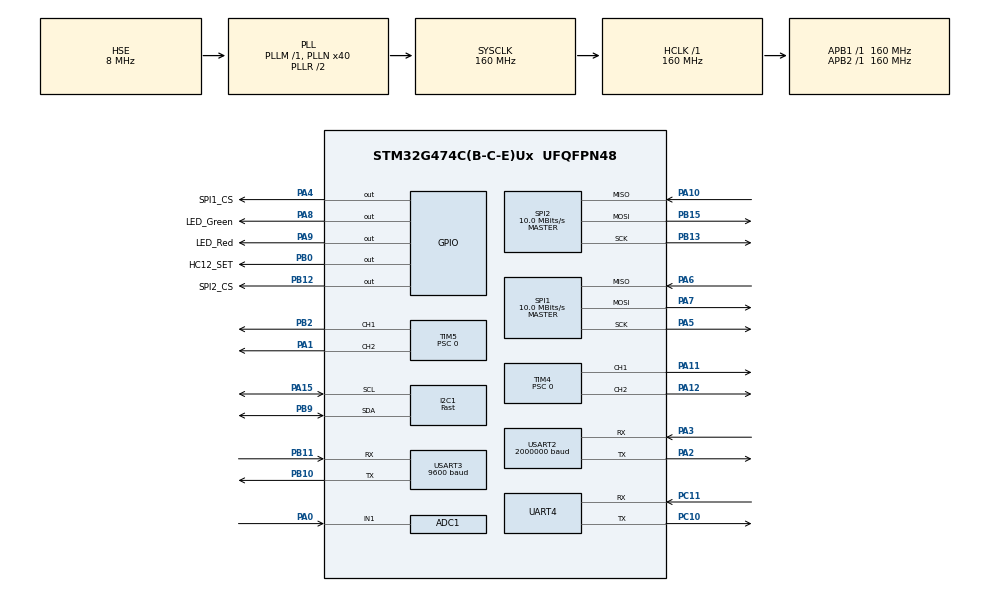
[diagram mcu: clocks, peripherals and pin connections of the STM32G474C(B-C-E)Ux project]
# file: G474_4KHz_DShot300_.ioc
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ADC1.Channel-0\#ChannelRegularConversion=ADC_CHANNEL_1
ADC1.ClockPrescaler=ADC_CLOCK_ASYNC_DIV12
ADC1.NbrOfConversionFlag=1
ADC1.OffsetNumber-0\#ChannelRegularConversion=ADC_OFFSET_NONE
ADC1.Rank-0\#ChannelRegularConversion=1
ADC1.SamplingTime-0\#ChannelRegularConversion=ADC_SAMPLETIME_640CYCLES_5
ADC1.master=1
Dma.Request0=USART3_RX
Dma.Request1=TIM5_CH1
Dma.Request2=TIM5_CH2
Dma.Request3=TIM4_CH1
Dma.Request4=TIM4_CH2
Dma.TIM4_CH1.3.Direction=DMA_MEMORY_TO_PERIPH
Dma.TIM4_CH1.3.EventEnable=DISABLE
Dma.TIM4_CH1.3.Instance=DMA1_Channel4
Dma.TIM4_CH1.3.MemDataAlignment=DMA_MDATAALIGN_WORD
Dma.TIM4_CH1.3.MemInc=DMA_MINC_ENABLE
Dma.TIM4_CH1.3.Mode=DMA_NORMAL
Dma.TIM4_CH1.3.PeriphDataAlignment=DMA_PDATAALIGN_WORD
Dma.TIM4_CH1.3.PeriphInc=DMA_PINC_DISABLE
Dma.TIM4_CH1.3.Polarity=HAL_DMAMUX_REQ_GEN_RISING
Dma.TIM4_CH1.3.Priority=DMA_PRIORITY_LOW
Dma.TIM4_CH1.3.RequestNumber=1
Dma.TIM4_CH1.3.SignalID=NONE
Dma.TIM4_CH1.3.SyncEnable=DISABLE
Dma.TIM4_CH1.3.SyncPolarity=HAL_DMAMUX_SYNC_NO_EVENT
Dma.TIM4_CH1.3.SyncRequestNumber=1
Dma.TIM4_CH1.3.SyncSignalID=NONE
Dma.TIM4_CH2.4.Direction=DMA_MEMORY_TO_PERIPH
Dma.TIM4_CH2.4.EventEnable=DISABLE
Dma.TIM4_CH2.4.Instance=DMA1_Channel5
Dma.TIM4_CH2.4.MemDataAlignment=DMA_MDATAALIGN_WORD
Dma.TIM4_CH2.4.MemInc=DMA_MINC_ENABLE
Dma.TIM4_CH2.4.Mode=DMA_NORMAL
Dma.TIM4_CH2.4.PeriphDataAlignment=DMA_PDATAALIGN_WORD
Dma.TIM4_CH2.4.PeriphInc=DMA_PINC_DISABLE
Dma.TIM4_CH2.4.Polarity=HAL_DMAMUX_REQ_GEN_RISING
Dma.TIM4_CH2.4.Priority=DMA_PRIORITY_LOW
Dma.TIM4_CH2.4.RequestNumber=1
Dma.TIM4_CH2.4.SignalID=NONE
Dma.TIM4_CH2.4.SyncEnable=DISABLE
Dma.TIM4_CH2.4.SyncPolarity=HAL_DMAMUX_SYNC_NO_EVENT
Dma.TIM4_CH2.4.SyncRequestNumber=1
Dma.TIM4_CH2.4.SyncSignalID=NONE
Dma.TIM5_CH1.1.Direction=DMA_MEMORY_TO_PERIPH
Dma.TIM5_CH1.1.EventEnable=DISABLE
Dma.TIM5_CH1.1.Instance=DMA1_Channel2
Dma.TIM5_CH1.1.MemDataAlignment=DMA_MDATAALIGN_WORD
Dma.TIM5_CH1.1.MemInc=DMA_MINC_ENABLE
Dma.TIM5_CH1.1.Mode=DMA_NORMAL
Dma.TIM5_CH1.1.PeriphDataAlignment=DMA_PDATAALIGN_WORD
Dma.TIM5_CH1.1.PeriphInc=DMA_PINC_DISABLE
Dma.TIM5_CH1.1.Polarity=HAL_DMAMUX_REQ_GEN_RISING
Dma.TIM5_CH1.1.Priority=DMA_PRIORITY_LOW
Dma.TIM5_CH1.1.RequestNumber=1
Dma.TIM5_CH1.1.SignalID=NONE
Dma.TIM5_CH1.1.SyncEnable=DISABLE
Dma.TIM5_CH1.1.SyncPolarity=HAL_DMAMUX_SYNC_NO_EVENT
Dma.TIM5_CH1.1.SyncRequestNumber=1
Dma.TIM5_CH1.1.SyncSignalID=NONE
Dma.TIM5_CH2.2.Direction=DMA_MEMORY_TO_PERIPH
Dma.TIM5_CH2.2.EventEnable=DISABLE
Dma.TIM5_CH2.2.Instance=DMA1_Channel3
Dma.TIM5_CH2.2.MemDataAlignment=DMA_MDATAALIGN_WORD
Dma.TIM5_CH2.2.MemInc=DMA_MINC_ENABLE
Dma.TIM5_CH2.2.Mode=DMA_NORMAL
Dma.TIM5_CH2.2.PeriphDataAlignment=DMA_PDATAALIGN_WORD
Dma.TIM5_CH2.2.PeriphInc=DMA_PINC_DISABLE
Dma.TIM5_CH2.2.Polarity=HAL_DMAMUX_REQ_GEN_RISING
Dma.TIM5_CH2.2.Priority=DMA_PRIORITY_LOW
Dma.TIM5_CH2.2.RequestNumber=1
Dma.TIM5_CH2.2.SignalID=NONE
Dma.TIM5_CH2.2.SyncEnable=DISABLE
Dma.TIM5_CH2.2.SyncPolarity=HAL_DMAMUX_SYNC_NO_EVENT
Dma.TIM5_CH2.2.SyncRequestNumber=1
Dma.TIM5_CH2.2.SyncSignalID=NONE
Dma.USART3_RX.0.Direction=DMA_PERIPH_TO_MEMORY
Dma.USART3_RX.0.EventEnable=DISABLE
Dma.USART3_RX.0.Instance=DMA1_Channel1
Dma.USART3_RX.0.MemDataAlignment=DMA_MDATAALIGN_BYTE
Dma.USART3_RX.0.MemInc=DMA_MINC_ENABLE
Dma.USART3_RX.0.Mode=DMA_NORMAL
Dma.USART3_RX.0.PeriphDataAlignment=DMA_PDATAALIGN_BYTE
Dma.USART3_RX.0.PeriphInc=DMA_PINC_DISABLE
Dma.USART3_RX.0.Polarity=HAL_DMAMUX_REQ_GEN_RISING
Dma.USART3_RX.0.Priority=DMA_PRIORITY_LOW
Dma.USART3_RX.0.RequestNumber=1
Dma.USART3_RX.0.SignalID=NONE
Dma.USART3_RX.0.SyncEnable=DISABLE
Dma.USART3_RX.0.SyncPolarity=HAL_DMAMUX_SYNC_NO_EVENT
Dma.USART3_RX.0.SyncRequestNumber=1
Dma.USART3_RX.0.SyncSignalID=NONE
I2C1.CustomTiming=Enabled
I2C1.I2C_Speed_Mode=I2C_Fast
I2C1.Timing=0x20501E65
Mcu.Family=STM32G4
Mcu.Name=STM32G474C(B-C-E)Ux
Mcu.Package=UFQFPN48
NVIC.DMA1_Channel1_IRQn=true\:0\:0\:false\:false\:true\:false\:true\:true
NVIC.DMA1_Channel2_IRQn=true\:0\:0\:false\:false\:true\:false\:true\:true
NVIC.DMA1_Channel3_IRQn=true\:0\:0\:false\:false\:true\:false\:true\:true
NVIC.DMA1_Channel4_IRQn=true\:0\:0\:false\:false\:true\:false\:true\:true
NVIC.DMA1_Channel5_IRQn=true\:0\:0\:false\:false\:true\:false\:true\:true
NVIC.PriorityGroup=NVIC_PRIORITYGROUP_4
NVIC.TIM5_IRQn=true\:0\:0\:false\:false\:true\:true\:true\:true
NVIC.UART4_IRQn=true\:0\:0\:false\:false\:true\:true\:true\:true
NVIC.USART3_IRQn=true\:0\:0\:false\:false\:true\:true\:true\:true
PA0.Mode=IN1-Single-Ended
PA0.Signal=ADC1_IN1
PA1.Signal=S_TIM5_CH2
PA10.Mode=Full_Duplex_Master
PA10.Signal=SPI2_MISO
PA11.Signal=S_TIM4_CH1
PA12.Signal=S_TIM4_CH2
PA15.Mode=I2C
PA15.Signal=I2C1_SCL
PA2.Mode=Asynchronous
PA2.Signal=USART2_TX
PA3.Mode=Asynchronous
PA3.Signal=USART2_RX
PA4.GPIO_Label=SPI1_CS
PA4.Signal=GPIO_Output
PA5.Mode=Full_Duplex_Master
PA5.Signal=SPI1_SCK
PA6.Mode=Full_Duplex_Master
PA6.Signal=SPI1_MISO
PA7.Mode=Full_Duplex_Master
PA7.Signal=SPI1_MOSI
PA8.GPIO_Label=LED_Green
PA8.Signal=GPIO_Output
PA9.GPIO_Label=LED_Red
PA9.Signal=GPIO_Output
PB0.GPIO_Label=HC12_SET
PB0.PinState=GPIO_PIN_SET
PB0.Signal=GPIO_Output
PB10.Mode=Asynchronous
PB10.Signal=USART3_TX
PB11.Mode=Asynchronous
PB11.Signal=USART3_RX
PB12.GPIO_Label=SPI2_CS
PB12.Signal=GPIO_Output
PB13.Mode=Full_Duplex_Master
PB13.Signal=SPI2_SCK
PB15.Mode=Full_Duplex_Master
PB15.Signal=SPI2_MOSI
PB2.Signal=S_TIM5_CH1
PB9.Mode=I2C
PB9.Signal=I2C1_SDA
PC10.Mode=Asynchronous
PC10.Signal=UART4_TX
PC11.Mode=Asynchronous
PC11.Signal=UART4_RX
PF0-OSC_IN.Mode=HSE-External-Oscillator
PF0-OSC_IN.Signal=RCC_OSC_IN
PF1-OSC_OUT.Mode=HSE-External-Oscillator
PF1-OSC_OUT.Signal=RCC_OSC_OUT
ProjectManager.HeapSize=0x200
ProjectManager.StackSize=0x400
ProjectManager.TargetToolchain=STM32CubeIDE
RCC.ADC12Freq_Value=160000000
RCC.ADC345Freq_Value=160000000
RCC.AHBFreq_Value=160000000
RCC.APB1Freq_Value=160000000
RCC.APB1TimFreq_Value=160000000
RCC.APB2Freq_Value=160000000
RCC.APB2TimFreq_Value=160000000
RCC.CortexFreq_Value=160000000
RCC.EXTERNAL_CLOCK_VALUE=12288000
RCC.EnbaleCSS=true
RCC.HCLKFreq_Value=160000000
RCC.HSE_VALUE=8000000
RCC.HSI48_VALUE=48000000
RCC.HSI_VALUE=16000000
RCC.LSE_VALUE=32768
RCC.PLLN=40
RCC.PLLSourceVirtual=RCC_PLLSOURCE_HSE
RCC.SYSCLKFreq_VALUE=160000000
RCC.SYSCLKSource=RCC_SYSCLKSOURCE_PLLCLK
RCC.USBFreq_Value=160000000
RCC.VCOOutputFreq_Value=320000000
SH.S_TIM4_CH1.0=TIM4_CH1,PWM Generation1 CH1
SH.S_TIM4_CH2.0=TIM4_CH2,PWM Generation2 CH2
SH.S_TIM5_CH1.0=TIM5_CH1,PWM Generation1 CH1
SH.S_TIM5_CH2.0=TIM5_CH2,PWM Generation2 CH2
SPI1.BaudRatePrescaler=SPI_BAUDRATEPRESCALER_16
SPI1.CalculateBaudRate=10.0 MBits/s
SPI1.DataSize=SPI_DATASIZE_8BIT
SPI1.Direction=SPI_DIRECTION_2LINES
SPI1.Mode=SPI_MODE_MASTER
SPI1.VirtualType=VM_MASTER
SPI2.BaudRatePrescaler=SPI_BAUDRATEPRESCALER_16
SPI2.CLKPhase=SPI_PHASE_2EDGE
SPI2.CLKPolarity=SPI_POLARITY_HIGH
SPI2.CalculateBaudRate=10.0 MBits/s
SPI2.DataSize=SPI_DATASIZE_8BIT
SPI2.Direction=SPI_DIRECTION_2LINES
SPI2.Mode=SPI_MODE_MASTER
SPI2.VirtualType=VM_MASTER
TIM4.Channel-PWM\ Generation1\ CH1=TIM_CHANNEL_1
TIM4.Channel-PWM\ Generation2\ CH2=TIM_CHANNEL_2
TIM4.PeriodNoDither=532
TIM4.Prescaler=0
TIM5.Channel-PWM\ Generation1\ CH1=TIM_CHANNEL_1
TIM5.Channel-PWM\ Generation2\ CH2=TIM_CHANNEL_2
TIM5.PeriodNoDither=532
TIM5.Prescaler=0
TIM7.PeriodNoDither=999
TIM7.Prescaler=39
USART2.BaudRate=2000000
USART2.VirtualMode-Asynchronous=VM_ASYNC
USART3.BaudRate=9600
USART3.SwapParam=ADVFEATURE_SWAP_ENABLE
USART3.VirtualMode-Asynchronous=VM_ASYNC
VP_SYS_VS_DBSignals.Mode=DisableDeadBatterySignals
VP_TIM7_VS_ClockSourceINT.Mode=Enable_Timer
board=custom

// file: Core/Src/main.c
/* USER CODE BEGIN Header */
/**
 ******************************************************************************
 * @file           : main.c
 * @brief          : Main program body
 *
 * Revised: 2026-09-25 22:10 (Claude)
 *   - 루프 동기 매크로 _1KHz_* -> _4KHz_* (실제 주기 4kHz), 주기 상수를 main.h 로 통일
 *   - used_clocks 측정이 타이머 랩(오버런) 시 65000대 값으로 튀던 문제 수정
 *   - ADC(배터리) 자기 보정(HAL_ADCEx_Calibration_Start) 추가: 기존엔 미보정이었음
 *   - 전압 보상 배율 상한(ESC_VOLT_GAIN_MAX) 추가: 저전압에서 출력이 과도하게 증폭되던 문제
 *   - 모터 믹싱을 motor_mix() 한 곳으로 통합, 사용되지 않던 잘못된 스케일의
 *     motor_rotate() 제거 (1000~2000 스케일 값을 DShot 클램프에 그대로 넣던 함수)
 *
 * Revised: 2026-09-26 (Claude)
 *   - 모터 아이들(MOTOR_IDLE_DSHOT): 아밍하면 모터가 천천히 돌고, 스로틀 최저에서도
 *     PID 가 모터를 올리고 내릴 여유가 생긴다. (기존 48 = DShot 스로틀 0, 모터 정지)
 *
 * Revised: 2026-09-29 (Manual)
 *   - 가속도 offset 측장 및 적용(imu.c)
 *   - 비행 테스트 : ING(   )
 *
 ******************************************************************************
 * @attention
 *
 * Copyright (c) 2024 STMicroelectronics.
 * All rights reserved.
 *
 * This software is licensed under terms that can be found in the LICENSE file
 * in the root directory of this software component.
 * If no LICENSE file comes with this software, it is provided AS-IS.
 *
 ******************************************************************************
 */
/* USER CODE END Header */
#include "main.h"

/* USER CODE BEGIN Includes */
#include "dshot.h" // DShot 라이브러리 추가
#include "rc.h"
#include "imu.h"
#include "error.h"
#include "pid.h"
#include "telemetry.h"
#include "baro.h"
#include <stdio.h> // printf 사용을 위해 추가

/* USER CODE END Includes */

/* USER CODE BEGIN PD */
// 제어 루프 동기: TIM7 업데이트 플래그 기반 4kHz (FC_LOOP_* 는 main.h)
#define  _4KHz_start() TIM7->SR &= ~TIM_SR_UIF
#define  _4KHz_end() while (!(TIM7->SR & TIM_SR_UIF)){}

// 전압 보상 배율 상한: 배터리 방전/순간 강하 시 max/V 가 커져 출력이 과증폭되는 것을 제한
#define ESC_VOLT_GAIN_MAX 1.30f
// 아밍 시 모터 최저 출력 (DShot 값, 48 = 0%, 2047 = 100%). 148 ≈ 5%.
// 아밍했을 때 모터가 멈칫거리거나 서면 올리고, 너무 빠르면 내린다. 48 이면 기존과 같음(아이들 없음).
#define MOTOR_IDLE_DSHOT  148

// ---- 빌드 옵션 -------------------------------------------------------------
// 1: 양팔 드론 테스트 모드 (롤만 제어, 피치/요 출력 0).  정상 4발 비행 시 0 으로.
#define TWO_ARM_TEST_MODE 0
// 1: BMP390L 사용(baro_init/get_pressure). 0 이면 error.BARO=true 로 FM2 이상 진입 불가.
#define BARO_ENABLED      1
// 1: 기압 고도 유지 사용 (BARO_ENABLED 필요). ch5 > 1400 (FM2) 에서 동작.
//    고도 PID 게인은 pid.c 의 ALT_KP/ALT_KI/ALT_KD [m 단위]. 튜닝 전에는 낮은 고도에서만 시험.
#define ALT_HOLD_ENABLED  1
// 1: 아밍 안 되는 문제 진단용 RC 디코딩 상태 출력(USART2, 2,000,000bps 8N1).
// 2026-09-25 11:20: 진짜 원인(rc.c의 rc_ever_valid 미갱신 버그) 확인 및 수정
// 완료로 0으로 되돌림. printf 는 매 호출 블로킹이라 상시 켜두면 안 됨.
#define RC_DEBUG_PRINT    0
// 1: BMP390L 동작 확인용 출력(USART2, 2,000,000bps 8N1, 4Hz, 디스암 상태에서만).
// printf 가 블로킹이라 출력하는 루프는 오버런(etc2 증가)이 난다. 확인 후 0 으로.
#define BARO_DEBUG_PRINT  0
#if BARO_DEBUG_PRINT && !BARO_ENABLED
#error "BARO_DEBUG_PRINT requires BARO_ENABLED"
#endif
#if ALT_HOLD_ENABLED && !BARO_ENABLED
#error "ALT_HOLD_ENABLED requires BARO_ENABLED"
#endif
/* USER CODE END PD */

ADC_HandleTypeDef hadc1;

I2C_HandleTypeDef hi2c1;

/* USER CODE BEGIN PV */
uint16_t loop_start;
uint16_t used_clocks;
uint16_t used_clocks_max; // 관측된 최대 루프 사용 클럭 (0.25us 단위, FC_LOOP_CLOCKS 이상 = 오버런)
uint16_t baro_clocks_max; // get_pressure() 1회 최대 소요 클럭 (0.25us 단위). 50Hz 로 읽는 루프의 부담 확인용
uint32_t loop_overrun;    // 250us 를 넘긴 루프 횟수
uint32_t loop_counter; //제어 루프(4kHz) 카운터: 0.25ms 단위

RPY angle;
RPY angular;
RC rc;
uint8_t FM;
uint8_t ARMED;
uint16_t throttle;
SETPOINT setpoint;
float roll_out, pitch_out, yaw_out;
uint16_t esc1, esc2, esc3, esc4;

Battery batteryType;
float battery_voltage;
float min_voltage, max_voltage;
/* USER CODE END PV */

void SystemClock_Config(void);
static void MX_GPIO_Init(void);
static void MX_DMA_Init(void);
static void MX_TIM7_Init(void);
static void MX_USART2_UART_Init(void);
static void MX_UART4_Init(void);
static void MX_SPI2_Init(void);
static void MX_SPI1_Init(void);
static void MX_I2C1_Init(void);
static void MX_ADC1_Init(void);
static void MX_TIM5_Init(void);
static void MX_USART3_UART_Init(void);
static void MX_TIM4_Init(void);

/* USER CODE BEGIN 0 */

int _write(int file, uint8_t *p, int length) {
	for (int i = 0; i < length; i++) {
		LL_USART_TransmitData8(USART2, p[i]);
		while (!LL_USART_IsActiveFlag_TXE(USART2)) {
		}
	}
	return length;
}

uint16_t throttle_decision(Flight type, RC rc, float pressure, uint8_t fm) {

	uint16_t _throttle;

	//Basic:
	_throttle = rc.ch3;

	if (fm == 1) {
		alt.setpointed = false; //---------------------------------> a
	}

	//Auto(+Manual):
	if (fm >= 2) {
#if ALT_HOLD_ENABLED
		(void) pressure;
		float t = alt_PID(ALT, &alt, baro.altitude); // [m]
		if (t < 1000.0f)
			t = 1000.0f; // 음수/저값이 uint16 으로 wrap 되는 것 방지
		if (t > 1800.0f)
			t = 1800.0f;
		_throttle = (uint16_t) t;
#endif
	}

	if (_throttle > 1800)
		_throttle = 1800;

	return _throttle;
}

SETPOINT setpoint_xyz_decision(Flight type, RC rc) {

	SETPOINT sp;

	//Manual:
	sp.x = rc.ch1;
	sp.y = rc.ch2;
	sp.z = rc.ch4;

	return sp;
}

void battery_type(Battery type) {
	// 100회 평균 (변환 타임아웃 10ms, HAL_MAX_DELAY 무한 대기 제거). 지연 중에도 DShot 0 프레임 유지.
	float sum = 0.0f;
	uint8_t n = 0;
	for (uint8_t i = 0; i < 100; i++) {
		HAL_ADC_Start(&hadc1);
		if (HAL_ADC_PollForConversion(&hadc1, 10) == HAL_OK) {
			sum += (float) HAL_ADC_GetValue(&hadc1) * BAT_ADC_TO_VOLT;
			n++;
		}
		HAL_ADC_Stop(&hadc1);
		dshot_delay_ms(1);
	}

	if (n > 0) {
		battery_voltage = sum / n;
	}

	if (battery_voltage > 8.4f && battery_voltage < 13.0f) {
		batteryType = _3S;
	}

	if (battery_voltage > 13.0f && battery_voltage < 17.0f) {
		batteryType = _4S;
	}
}

void esc_restriction(uint16_t _min, uint16_t _max) {

	if (esc1 > _max)
		esc1 = _max;
	if (esc2 > _max)
		esc2 = _max;
	if (esc3 > _max)
		esc3 = _max;
	if (esc4 > _max)
		esc4 = _max;

	if (esc1 < _min)
		esc1 = _min;
	if (esc2 < _min)
		esc2 = _min;
	if (esc3 < _min)
		esc3 = _min;
	if (esc4 < _min)
		esc4 = _min;
}

// 아이들 위쪽 구간만 배율 보정 (아이들 자체는 올리지 않음)
static uint16_t esc_scale(uint16_t v, float gain) {
	if (v <= MOTOR_IDLE_DSHOT)
		return v;
	return (uint16_t) (MOTOR_IDLE_DSHOT + (float) (v - MOTOR_IDLE_DSHOT) * gain);
}

void esc_correction(Battery type) {

	if (type == _3S) {
		min_voltage = 7.0; //2.80 * 3s = 8.4, 1050 <= 3s <= 1240
		max_voltage = 12.60; //2024-06-16
		//printf("access!");
	}

	if (type == _4S) {
		min_voltage = 10.0; //2.8 * 4s = 11.2, 1400 <= 4s <= 1660
		max_voltage = 16.80; //2024-06-16
	}

	if (battery_voltage > min_voltage && battery_voltage < max_voltage) {
		// 기존: 전 구간 (max-V)*80 가산 -> 스로틀 최저에서도 아이들이 상승(3S 11.1V 에서 +120).
		// 변경: 만충 전압 대비 배율로 스로틀 구간(48 초과분)만 보정.
		float gain = max_voltage / battery_voltage;
		if (gain > ESC_VOLT_GAIN_MAX)
			gain = ESC_VOLT_GAIN_MAX;
		esc1 = esc_scale(esc1, gain);
		esc2 = esc_scale(esc2, gain);
		esc3 = esc_scale(esc3, gain);
		esc4 = esc_scale(esc4, gain);
	}
}

// 1000~2000(us) 스케일의 PID 출력으로 믹싱한 뒤 DShot 으로 선형 변환.
// 1000us -> MOTOR_IDLE_DSHOT(아이들). 기울기는 기존과 같은 x1.999 라서 PID 게인은 그대로 유효하다.
// (위쪽 끝은 2047 에서 잘린다. 스로틀 상한 1800 + PID 여유 안에서는 거의 닿지 않음)
static uint16_t us_to_dshot(int16_t m) {
	return (m > 1000) ?
			(uint16_t) (((int32_t) (m - 1000) * 1999) / 1000 + MOTOR_IDLE_DSHOT) :
			MOTOR_IDLE_DSHOT;
}

void motor_mix(uint16_t throttle, float roll_out, float pitch_out,
		float yaw_out) {

	int16_t m1 = throttle - roll_out + (pitch_out * 0.72f) + yaw_out;
	int16_t m2 = throttle - roll_out - (pitch_out * 0.72f) - yaw_out;
	int16_t m3 = throttle + roll_out - (pitch_out * 0.72f) + yaw_out;
	int16_t m4 = throttle + roll_out + (pitch_out * 0.72f) - yaw_out;

	esc1 = us_to_dshot(m1);
	esc2 = us_to_dshot(m2);
	esc3 = us_to_dshot(m3);
	esc4 = us_to_dshot(m4);

	esc_correction(batteryType); //batteryType:
	esc_restriction(MOTOR_IDLE_DSHOT, 2047); // DShot300 스케일, 아밍 중엔 아이들 이하로 내리지 않음
}

void motor_free(void) {
	esc1 = esc2 = esc3 = esc4 = 0; // 변경: DShot 모터 정지 신호는 0
}

#define enumstr(a) (#a)
/* USER CODE END 0 */

int main(void)
{

  /* MCU Configuration--------------------------------------------------------*/

  /* Reset of all peripherals, Initializes the Flash interface and the Systick. */
  HAL_Init();

  /* Configure the system clock */
  SystemClock_Config();

  /* Initialize all configured peripherals */
  MX_GPIO_Init();
  MX_DMA_Init();
  MX_TIM7_Init();
  MX_USART2_UART_Init();
  MX_UART4_Init();
  MX_SPI2_Init();
  MX_SPI1_Init();
  MX_I2C1_Init();
  MX_ADC1_Init();
  MX_TIM5_Init();
  MX_USART3_UART_Init();
  MX_TIM4_Init();
  /* USER CODE BEGIN 2 */
	LL_TIM_EnableCounter(TIM7);

	LL_USART_EnableIT_RXNE(UART4); //rc:
	LL_USART_EnableIT_IDLE(UART4);

	LL_SPI_Enable(SPI1); //ms5611:
	LL_SPI_Enable(SPI2); //icm-20602:

	// 변경: 기존 TIM4/TIM5 인터럽트 활성화를 삭제하고 DShot 초기화 함수 호출
	dshot_init();

	dshot_delay_ms(500); //Without this, not any process next! (지연 중 DShot 0 프레임 유지)
	imu_init(icm20602);

	// BMP390L
#if BARO_ENABLED
	baro_init(bmp390L);
#endif
	// ADC 자기 보정(오프셋 오차 제거). ADC 가 비활성 상태인 지금 1회 수행. 실패해도 계속 진행.
	HAL_ADCEx_Calibration_Start(&hadc1, ADC_SINGLE_ENDED);
	battery_type(_3S | _4S);
	telemetry_rx_init();
  /* USER CODE END 2 */

  /* Infinite loop */
  /* USER CODE BEGIN WHILE */
	while (1) {

		_4KHz_start(); //-------------------------------------------------------------> 0)
		loop_counter++;
		loop_start = LL_TIM_GetCounter(TIM7);

		//read DATA ------------------------------------------------------------------> 1)
		angle = get_angle(icm20602);
		angular = get_angular(icm20602);
		rc = get_rc(FS_iA6B);
		// 2026-09-25 11:20: 재활성화(진짜 원인 수정 완료, rc.c 참고).
		// get_rc()가 rc_ever_valid 를 갱신하지 않아 rc_link_lost()가 항상
		// true 를 반환 -> ARMED==2 가 되는 즉시 이 함수가 "링크 두절"로
		// 오판해 강제 디스암시키고 있었음. rc.c 수정으로 해결되었으므로
		// 실비행 중 RC 링크 두절 시 자동 강하+디스암하는 원래 안전 기능으로 복구.
		rc = rc_failsafe(rc); // 비행 중 RC 링크 두절 시 중립 + 스로틀 감소 + 디스암

		// BMP390L [hPa]
#if BARO_ENABLED
		uint16_t baro_t0 = LL_TIM_GetCounter(TIM7);
		float pressure = get_pressure(bmp390L);
		uint16_t baro_used = (uint16_t) (LL_TIM_GetCounter(TIM7) - baro_t0);
		if (baro_used < FC_LOOP_CLOCKS && baro_used > baro_clocks_max)
			baro_clocks_max = baro_used;
#else
		float pressure = 0;
#endif

		//check ERRORs:
		error_handling(); //Battery_check!

		//set FLIGHT MODE and ARMING -------------------------------------------------> 2)
		FM = flightmode(rc);
		ARMED = arming(rc);
		pid_tune_update(); // 튜닝 모드(pid.h PID_TUNE_MODE): ch5=P/I/D 선택, ch9=배율
#if BARO_ENABLED
		// 아밍되는 순간의 압력을 상대 고도 0m 로 잡는다 (텔레메트리 altitude 기준)
		static uint8_t prev_armed = 0;
		if (ARMED == 2 && prev_armed != 2)
			baro_zero_altitude();
		prev_armed = ARMED;
#endif

#if RC_DEBUG_PRINT
		// 진단용(임시, 4Hz): USART2(2,000,000bps 8N1)로 RC 디코딩 상태 출력.
		// f=시도횟수 v=체크섬통과횟수 (v가 0에서 안 늘면 iBus 디코딩이 안 되는 것)
		// c1~c5: 실제 디코딩된 채널값, armed: arming() 결과, eRC: error.RC
		if (loop_counter % 1000 == 0) {
			printf("RC f=%lu v=%lu c1=%u c2=%u c3=%u c4=%u c5=%u armed=%u eRC=%u\r\n",
					(unsigned long) rc_frames_total, (unsigned long) rc_frames_valid,
					rc.ch1, rc.ch2, rc.ch3, rc.ch4, rc.ch5, ARMED, error.RC);
		}
#endif

#if BARO_DEBUG_PRINT
		// 진단용(임시, 4Hz, 디스암 시에만): BMP390L 상태 출력
		// id=0x60, err=0x00, pwr=0x33, osr=0x03, odr=0x02, cfg=0x04 이어야 정상.
		// P=압력[Pa], T=칩온도[degC], n=누적 샘플(초당 50씩 증가), rdy=baro.ready
		if (ARMED != 2 && loop_counter % 1000 == 0) {
			// baro_clk: get_pressure() 최대 소요 [0.25us 단위]
			int32_t p = baro_diag.press_pa_x100, t = baro_diag.temp_c_x100;
			int32_t ta = (t < 0) ? -t : t;
			printf("BARO id=%02X err=%02X pwr=%02X osr=%02X odr=%02X cfg=%02X "
					"P=%ld.%02ld T=%s%ld.%02ld n=%lu rej=%lu stale=%lu rdy=%u baro_clk=%u\r\n",
					baro_diag.chip_id, baro_diag.err_reg, baro_diag.pwr_ctrl,
					baro_diag.osr, baro_diag.odr, baro_diag.config,
					(long) (p / 100), (long) (p % 100),
					(t < 0) ? "-" : "", (long) (ta / 100), (long) (ta % 100),
					(unsigned long) baro.sample_count,
					(unsigned long) baro_diag.reject_count,
					(unsigned long) baro_diag.stale_count, baro.ready,
					baro_clocks_max);
		}
#endif

		//decide SETPOINTs:x,y,z and throttle ----------------------------------------> 3)
		throttle = throttle_decision(Manual | Auto, rc, pressure, FM);
		setpoint = setpoint_xyz_decision(Manual | Auto, rc);

		//do ATTITUDE PID ------------------------------------------------------------> 4)
		// 4kHz 제어 주기(FC_LOOP_DT = 0.25ms)를 인자로 전달
		roll_out = att_PID(ROLL, &roll, angle.x, angular.x, setpoint.x,
				FC_LOOP_DT);
		pitch_out = att_PID(PITCH, &pitch, angle.y, angular.y, setpoint.y,
				FC_LOOP_DT);
		yaw_out = att_PID(YAW, &yaw, angle.z, angular.z, setpoint.z,
				FC_LOOP_DT);

#if TWO_ARM_TEST_MODE
		// 양팔 드론 테스트: 롤만 사용
		pitch_out = yaw_out = 0;
#endif

		//activate MOTORs ------------------------------------------------------------> 5)
		if (ARMED == 2) {
			motor_mix(throttle, roll_out, pitch_out, yaw_out);
		} else {
			motor_free();
		}

		// 변경: 루프 마지막 단에서 DMA 트리거를 통해 DShot 패킷 전송
		dshot_write(esc1, esc2, esc3, esc4);

		telemetry();

		if(1) {
			// 오버런(UIF 이미 set) 이면 카운터가 한 바퀴 돈 것이므로 주기만큼 보정해서 계산.
			// (기존: uint16 뺄셈이 랩되어 65000대 값이 used_clocks/etc1 에 찍혔음)
			// Basic: used_clocks(144us), overrun(0)
			// Basic + BMP390L:
			uint16_t now = LL_TIM_GetCounter(TIM7);
			bool overrun = (TIM7->SR & TIM_SR_UIF) != 0; // 250us 안에 끝나지 못함
			uint16_t used = (uint16_t) (now - loop_start);
			if (overrun) {
				used = (uint16_t) ((now + FC_LOOP_CLOCKS) - loop_start);
				loop_overrun++;
			}
			used_clocks = used;
			if (used_clocks > used_clocks_max)
				used_clocks_max = used_clocks;
		}

		_4KHz_end(); //---------------------------------------------------------------> 0)
    /* USER CODE END WHILE */

	}
}

void SystemClock_Config(void)
{
  RCC_OscInitTypeDef RCC_OscInitStruct = {0};
  RCC_ClkInitTypeDef RCC_ClkInitStruct = {0};

  /** Configure the main internal regulator output voltage
  */
  HAL_PWREx_ControlVoltageScaling(PWR_REGULATOR_VOLTAGE_SCALE1_BOOST);

  /** Initializes the RCC Oscillators according to the specified parameters
  * in the RCC_OscInitTypeDef structure.
  */
  RCC_OscInitStruct.OscillatorType = RCC_OSCILLATORTYPE_HSE;
  RCC_OscInitStruct.HSEState = RCC_HSE_ON;
  RCC_OscInitStruct.PLL.PLLState = RCC_PLL_ON;
  RCC_OscInitStruct.PLL.PLLSource = RCC_PLLSOURCE_HSE;
  RCC_OscInitStruct.PLL.PLLM = RCC_PLLM_DIV1;
  RCC_OscInitStruct.PLL.PLLN = 40;
  RCC_OscInitStruct.PLL.PLLP = RCC_PLLP_DIV2;
  RCC_OscInitStruct.PLL.PLLQ = RCC_PLLQ_DIV2;
  RCC_OscInitStruct.PLL.PLLR = RCC_PLLR_DIV2;
  if (HAL_RCC_OscConfig(&RCC_OscInitStruct) != HAL_OK)
  {
    Error_Handler();
  }

  /** Initializes the CPU, AHB and APB buses clocks
  */
  RCC_ClkInitStruct.ClockType = RCC_CLOCKTYPE_HCLK|RCC_CLOCKTYPE_SYSCLK
                              |RCC_CLOCKTYPE_PCLK1|RCC_CLOCKTYPE_PCLK2;
  RCC_ClkInitStruct.SYSCLKSource = RCC_SYSCLKSOURCE_PLLCLK;
  RCC_ClkInitStruct.AHBCLKDivider = RCC_SYSCLK_DIV1;
  RCC_ClkInitStruct.APB1CLKDivider = RCC_HCLK_DIV1;
  RCC_ClkInitStruct.APB2CLKDivider = RCC_HCLK_DIV1;

  if (HAL_RCC_ClockConfig(&RCC_ClkInitStruct, FLASH_LATENCY_4) != HAL_OK)
  {
    Error_Handler();
  }

  /** Enables the Clock Security System
  */
  HAL_RCC_EnableCSS();
}

static void MX_ADC1_Init(void)
{

  ADC_MultiModeTypeDef multimode = {0};
  ADC_ChannelConfTypeDef sConfig = {0};

  /** Common config
  */
  hadc1.Instance = ADC1;
  hadc1.Init.ClockPrescaler = ADC_CLOCK_ASYNC_DIV12;
  hadc1.Init.Resolution = ADC_RESOLUTION_12B;
  hadc1.Init.DataAlign = ADC_DATAALIGN_RIGHT;
  hadc1.Init.GainCompensation = 0;
  hadc1.Init.ScanConvMode = ADC_SCAN_DISABLE;
  hadc1.Init.EOCSelection = ADC_EOC_SINGLE_CONV;
  hadc1.Init.LowPowerAutoWait = DISABLE;
  hadc1.Init.ContinuousConvMode = DISABLE;
  hadc1.Init.NbrOfConversion = 1;
  hadc1.Init.DiscontinuousConvMode = DISABLE;
  hadc1.Init.ExternalTrigConv = ADC_SOFTWARE_START;
  hadc1.Init.ExternalTrigConvEdge = ADC_EXTERNALTRIGCONVEDGE_NONE;
  hadc1.Init.DMAContinuousRequests = DISABLE;
  hadc1.Init.Overrun = ADC_OVR_DATA_PRESERVED;
  hadc1.Init.OversamplingMode = DISABLE;
  if (HAL_ADC_Init(&hadc1) != HAL_OK)
  {
    Error_Handler();
  }

  /** Configure the ADC multi-mode
  */
  multimode.Mode = ADC_MODE_INDEPENDENT;
  if (HAL_ADCEx_MultiModeConfigChannel(&hadc1, &multimode) != HAL_OK)
  {
    Error_Handler();
  }

  /** Configure Regular Channel
  */
  sConfig.Channel = ADC_CHANNEL_1;
  sConfig.Rank = ADC_REGULAR_RANK_1;
  sConfig.SamplingTime = ADC_SAMPLETIME_640CYCLES_5;
  sConfig.SingleDiff = ADC_SINGLE_ENDED;
  sConfig.OffsetNumber = ADC_OFFSET_NONE;
  sConfig.Offset = 0;
  if (HAL_ADC_ConfigChannel(&hadc1, &sConfig) != HAL_OK)
  {
    Error_Handler();
  }

}

static void MX_I2C1_Init(void)
{

  hi2c1.Instance = I2C1;
  hi2c1.Init.Timing = 0x20501E65;
  hi2c1.Init.OwnAddress1 = 0;
  hi2c1.Init.AddressingMode = I2C_ADDRESSINGMODE_7BIT;
  hi2c1.Init.DualAddressMode = I2C_DUALADDRESS_DISABLE;
  hi2c1.Init.OwnAddress2 = 0;
  hi2c1.Init.OwnAddress2Masks = I2C_OA2_NOMASK;
  hi2c1.Init.GeneralCallMode = I2C_GENERALCALL_DISABLE;
  hi2c1.Init.NoStretchMode = I2C_NOSTRETCH_DISABLE;
  if (HAL_I2C_Init(&hi2c1) != HAL_OK)
  {
    Error_Handler();
  }

  /** Configure Analogue filter
  */
  if (HAL_I2CEx_ConfigAnalogFilter(&hi2c1, I2C_ANALOGFILTER_ENABLE) != HAL_OK)
  {
    Error_Handler();
  }

  /** Configure Digital filter
  */
  if (HAL_I2CEx_ConfigDigitalFilter(&hi2c1, 0) != HAL_OK)
  {
    Error_Handler();
  }

}

static void MX_SPI1_Init(void)
{

  LL_SPI_InitTypeDef SPI_InitStruct = {0};

  LL_GPIO_InitTypeDef GPIO_InitStruct = {0};

  /* Peripheral clock enable */
  LL_APB2_GRP1_EnableClock(LL_APB2_GRP1_PERIPH_SPI1);

  LL_AHB2_GRP1_EnableClock(LL_AHB2_GRP1_PERIPH_GPIOA);
  /**SPI1 GPIO Configuration
  PA5   ------> SPI1_SCK
  PA6   ------> SPI1_MISO
  PA7   ------> SPI1_MOSI
  */
  GPIO_InitStruct.Pin = LL_GPIO_PIN_5;
  GPIO_InitStruct.Mode = LL_GPIO_MODE_ALTERNATE;
  GPIO_InitStruct.Speed = LL_GPIO_SPEED_FREQ_LOW;
  GPIO_InitStruct.OutputType = LL_GPIO_OUTPUT_PUSHPULL;
  GPIO_InitStruct.Pull = LL_GPIO_PULL_NO;
  GPIO_InitStruct.Alternate = LL_GPIO_AF_5;
  LL_GPIO_Init(GPIOA, &GPIO_InitStruct);

  GPIO_InitStruct.Pin = LL_GPIO_PIN_6;
  GPIO_InitStruct.Mode = LL_GPIO_MODE_ALTERNATE;
  GPIO_InitStruct.Speed = LL_GPIO_SPEED_FREQ_LOW;
  GPIO_InitStruct.OutputType = LL_GPIO_OUTPUT_PUSHPULL;
  GPIO_InitStruct.Pull = LL_GPIO_PULL_NO;
  GPIO_InitStruct.Alternate = LL_GPIO_AF_5;
  LL_GPIO_Init(GPIOA, &GPIO_InitStruct);

  GPIO_InitStruct.Pin = LL_GPIO_PIN_7;
  GPIO_InitStruct.Mode = LL_GPIO_MODE_ALTERNATE;
  GPIO_InitStruct.Speed = LL_GPIO_SPEED_FREQ_LOW;
  GPIO_InitStruct.OutputType = LL_GPIO_OUTPUT_PUSHPULL;
  GPIO_InitStruct.Pull = LL_GPIO_PULL_NO;
  GPIO_InitStruct.Alternate = LL_GPIO_AF_5;
  LL_GPIO_Init(GPIOA, &GPIO_InitStruct);

  /* SPI1 parameter configuration*/
  SPI_InitStruct.TransferDirection = LL_SPI_FULL_DUPLEX;
  SPI_InitStruct.Mode = LL_SPI_MODE_MASTER;
  SPI_InitStruct.DataWidth = LL_SPI_DATAWIDTH_8BIT;
  SPI_InitStruct.ClockPolarity = LL_SPI_POLARITY_LOW;
  SPI_InitStruct.ClockPhase = LL_SPI_PHASE_1EDGE;
  SPI_InitStruct.NSS = LL_SPI_NSS_SOFT;
  SPI_InitStruct.BaudRate = LL_SPI_BAUDRATEPRESCALER_DIV16;
  SPI_InitStruct.BitOrder = LL_SPI_MSB_FIRST;
  SPI_InitStruct.CRCCalculation = LL_SPI_CRCCALCULATION_DISABLE;
  SPI_InitStruct.CRCPoly = 7;
  LL_SPI_Init(SPI1, &SPI_InitStruct);
  LL_SPI_SetStandard(SPI1, LL_SPI_PROTOCOL_MOTOROLA);
  LL_SPI_EnableNSSPulseMgt(SPI1);

}

static void MX_SPI2_Init(void)
{

  LL_SPI_InitTypeDef SPI_InitStruct = {0};

  LL_GPIO_InitTypeDef GPIO_InitStruct = {0};

  /* Peripheral clock enable */
  LL_APB1_GRP1_EnableClock(LL_APB1_GRP1_PERIPH_SPI2);

  LL_AHB2_GRP1_EnableClock(LL_AHB2_GRP1_PERIPH_GPIOB);
  LL_AHB2_GRP1_EnableClock(LL_AHB2_GRP1_PERIPH_GPIOA);
  /**SPI2 GPIO Configuration
  PB13   ------> SPI2_SCK
  PB15   ------> SPI2_MOSI
  PA10   ------> SPI2_MISO
  */
  GPIO_InitStruct.Pin = LL_GPIO_PIN_13;
  GPIO_InitStruct.Mode = LL_GPIO_MODE_ALTERNATE;
  GPIO_InitStruct.Speed = LL_GPIO_SPEED_FREQ_LOW;
  GPIO_InitStruct.OutputType = LL_GPIO_OUTPUT_PUSHPULL;
  GPIO_InitStruct.Pull = LL_GPIO_PULL_NO;
  GPIO_InitStruct.Alternate = LL_GPIO_AF_5;
  LL_GPIO_Init(GPIOB, &GPIO_InitStruct);

  GPIO_InitStruct.Pin = LL_GPIO_PIN_15;
  GPIO_InitStruct.Mode = LL_GPIO_MODE_ALTERNATE;
  GPIO_InitStruct.Speed = LL_GPIO_SPEED_FREQ_LOW;
  GPIO_InitStruct.OutputType = LL_GPIO_OUTPUT_PUSHPULL;
  GPIO_InitStruct.Pull = LL_GPIO_PULL_NO;
  GPIO_InitStruct.Alternate = LL_GPIO_AF_5;
  LL_GPIO_Init(GPIOB, &GPIO_InitStruct);

  GPIO_InitStruct.Pin = LL_GPIO_PIN_10;
  GPIO_InitStruct.Mode = LL_GPIO_MODE_ALTERNATE;
  GPIO_InitStruct.Speed = LL_GPIO_SPEED_FREQ_LOW;
  GPIO_InitStruct.OutputType = LL_GPIO_OUTPUT_PUSHPULL;
  GPIO_InitStruct.Pull = LL_GPIO_PULL_NO;
  GPIO_InitStruct.Alternate = LL_GPIO_AF_5;
  LL_GPIO_Init(GPIOA, &GPIO_InitStruct);

  /* SPI2 parameter configuration*/
  SPI_InitStruct.TransferDirection = LL_SPI_FULL_DUPLEX;
  SPI_InitStruct.Mode = LL_SPI_MODE_MASTER;
  SPI_InitStruct.DataWidth = LL_SPI_DATAWIDTH_8BIT;
  SPI_InitStruct.ClockPolarity = LL_SPI_POLARITY_HIGH;
  SPI_InitStruct.ClockPhase = LL_SPI_PHASE_2EDGE;
  SPI_InitStruct.NSS = LL_SPI_NSS_SOFT;
  SPI_InitStruct.BaudRate = LL_SPI_BAUDRATEPRESCALER_DIV16;
  SPI_InitStruct.BitOrder = LL_SPI_MSB_FIRST;
  SPI_InitStruct.CRCCalculation = LL_SPI_CRCCALCULATION_DISABLE;
  SPI_InitStruct.CRCPoly = 7;
  LL_SPI_Init(SPI2, &SPI_InitStruct);
  LL_SPI_SetStandard(SPI2, LL_SPI_PROTOCOL_MOTOROLA);
  LL_SPI_DisableNSSPulseMgt(SPI2);

}

static void MX_TIM4_Init(void)
{

  LL_TIM_InitTypeDef TIM_InitStruct = {0};
  LL_TIM_OC_InitTypeDef TIM_OC_InitStruct = {0};

  LL_GPIO_InitTypeDef GPIO_InitStruct = {0};

  /* Peripheral clock enable */
  LL_APB1_GRP1_EnableClock(LL_APB1_GRP1_PERIPH_TIM4);

  /* TIM4 DMA Init */

  /* TIM4_CH1 Init */
  LL_DMA_SetPeriphRequest(DMA1, LL_DMA_CHANNEL_4, LL_DMAMUX_REQ_TIM4_CH1);

  LL_DMA_SetDataTransferDirection(DMA1, LL_DMA_CHANNEL_4, LL_DMA_DIRECTION_MEMORY_TO_PERIPH);

  LL_DMA_SetChannelPriorityLevel(DMA1, LL_DMA_CHANNEL_4, LL_DMA_PRIORITY_LOW);

  LL_DMA_SetMode(DMA1, LL_DMA_CHANNEL_4, LL_DMA_MODE_NORMAL);

  LL_DMA_SetPeriphIncMode(DMA1, LL_DMA_CHANNEL_4, LL_DMA_PERIPH_NOINCREMENT);

  LL_DMA_SetMemoryIncMode(DMA1, LL_DMA_CHANNEL_4, LL_DMA_MEMORY_INCREMENT);

  LL_DMA_SetPeriphSize(DMA1, LL_DMA_CHANNEL_4, LL_DMA_PDATAALIGN_WORD);

  LL_DMA_SetMemorySize(DMA1, LL_DMA_CHANNEL_4, LL_DMA_MDATAALIGN_WORD);

  /* TIM4_CH2 Init */
  LL_DMA_SetPeriphRequest(DMA1, LL_DMA_CHANNEL_5, LL_DMAMUX_REQ_TIM4_CH2);

  LL_DMA_SetDataTransferDirection(DMA1, LL_DMA_CHANNEL_5, LL_DMA_DIRECTION_MEMORY_TO_PERIPH);

  LL_DMA_SetChannelPriorityLevel(DMA1, LL_DMA_CHANNEL_5, LL_DMA_PRIORITY_LOW);

  LL_DMA_SetMode(DMA1, LL_DMA_CHANNEL_5, LL_DMA_MODE_NORMAL);

  LL_DMA_SetPeriphIncMode(DMA1, LL_DMA_CHANNEL_5, LL_DMA_PERIPH_NOINCREMENT);

  LL_DMA_SetMemoryIncMode(DMA1, LL_DMA_CHANNEL_5, LL_DMA_MEMORY_INCREMENT);

  LL_DMA_SetPeriphSize(DMA1, LL_DMA_CHANNEL_5, LL_DMA_PDATAALIGN_WORD);

  LL_DMA_SetMemorySize(DMA1, LL_DMA_CHANNEL_5, LL_DMA_MDATAALIGN_WORD);

  TIM_InitStruct.Prescaler = 0;
  TIM_InitStruct.CounterMode = LL_TIM_COUNTERMODE_UP;
  TIM_InitStruct.Autoreload = 532;
  TIM_InitStruct.ClockDivision = LL_TIM_CLOCKDIVISION_DIV1;
  LL_TIM_Init(TIM4, &TIM_InitStruct);
  LL_TIM_DisableARRPreload(TIM4);
  LL_TIM_OC_EnablePreload(TIM4, LL_TIM_CHANNEL_CH1);
  TIM_OC_InitStruct.OCMode = LL_TIM_OCMODE_PWM1;
  TIM_OC_InitStruct.OCState = LL_TIM_OCSTATE_DISABLE;
  TIM_OC_InitStruct.OCNState = LL_TIM_OCSTATE_DISABLE;
  TIM_OC_InitStruct.CompareValue = 0;
  TIM_OC_InitStruct.OCPolarity = LL_TIM_OCPOLARITY_HIGH;
  LL_TIM_OC_Init(TIM4, LL_TIM_CHANNEL_CH1, &TIM_OC_InitStruct);
  LL_TIM_OC_DisableFast(TIM4, LL_TIM_CHANNEL_CH1);
  LL_TIM_OC_EnablePreload(TIM4, LL_TIM_CHANNEL_CH2);
  LL_TIM_OC_Init(TIM4, LL_TIM_CHANNEL_CH2, &TIM_OC_InitStruct);
  LL_TIM_OC_DisableFast(TIM4, LL_TIM_CHANNEL_CH2);
  LL_TIM_SetTriggerOutput(TIM4, LL_TIM_TRGO_RESET);
  LL_TIM_DisableMasterSlaveMode(TIM4);
  LL_AHB2_GRP1_EnableClock(LL_AHB2_GRP1_PERIPH_GPIOA);
  /**TIM4 GPIO Configuration
  PA11   ------> TIM4_CH1
  PA12   ------> TIM4_CH2
  */
  GPIO_InitStruct.Pin = LL_GPIO_PIN_11;
  GPIO_InitStruct.Mode = LL_GPIO_MODE_ALTERNATE;
  GPIO_InitStruct.Speed = LL_GPIO_SPEED_FREQ_LOW;
  GPIO_InitStruct.OutputType = LL_GPIO_OUTPUT_PUSHPULL;
  GPIO_InitStruct.Pull = LL_GPIO_PULL_NO;
  GPIO_InitStruct.Alternate = LL_GPIO_AF_10;
  LL_GPIO_Init(GPIOA, &GPIO_InitStruct);

  GPIO_InitStruct.Pin = LL_GPIO_PIN_12;
  GPIO_InitStruct.Mode = LL_GPIO_MODE_ALTERNATE;
  GPIO_InitStruct.Speed = LL_GPIO_SPEED_FREQ_LOW;
  GPIO_InitStruct.OutputType = LL_GPIO_OUTPUT_PUSHPULL;
  GPIO_InitStruct.Pull = LL_GPIO_PULL_NO;
  GPIO_InitStruct.Alternate = LL_GPIO_AF_10;
  LL_GPIO_Init(GPIOA, &GPIO_InitStruct);

}

static void MX_TIM5_Init(void)
{

  LL_TIM_InitTypeDef TIM_InitStruct = {0};
  LL_TIM_OC_InitTypeDef TIM_OC_InitStruct = {0};

  LL_GPIO_InitTypeDef GPIO_InitStruct = {0};

  /* Peripheral clock enable */
  LL_APB1_GRP1_EnableClock(LL_APB1_GRP1_PERIPH_TIM5);

  /* TIM5 DMA Init */

  /* TIM5_CH1 Init */
  LL_DMA_SetPeriphRequest(DMA1, LL_DMA_CHANNEL_2, LL_DMAMUX_REQ_TIM5_CH1);

  LL_DMA_SetDataTransferDirection(DMA1, LL_DMA_CHANNEL_2, LL_DMA_DIRECTION_MEMORY_TO_PERIPH);

  LL_DMA_SetChannelPriorityLevel(DMA1, LL_DMA_CHANNEL_2, LL_DMA_PRIORITY_LOW);

  LL_DMA_SetMode(DMA1, LL_DMA_CHANNEL_2, LL_DMA_MODE_NORMAL);

  LL_DMA_SetPeriphIncMode(DMA1, LL_DMA_CHANNEL_2, LL_DMA_PERIPH_NOINCREMENT);

  LL_DMA_SetMemoryIncMode(DMA1, LL_DMA_CHANNEL_2, LL_DMA_MEMORY_INCREMENT);

  LL_DMA_SetPeriphSize(DMA1, LL_DMA_CHANNEL_2, LL_DMA_PDATAALIGN_WORD);

  LL_DMA_SetMemorySize(DMA1, LL_DMA_CHANNEL_2, LL_DMA_MDATAALIGN_WORD);

  /* TIM5_CH2 Init */
  LL_DMA_SetPeriphRequest(DMA1, LL_DMA_CHANNEL_3, LL_DMAMUX_REQ_TIM5_CH2);

  LL_DMA_SetDataTransferDirection(DMA1, LL_DMA_CHANNEL_3, LL_DMA_DIRECTION_MEMORY_TO_PERIPH);

  LL_DMA_SetChannelPriorityLevel(DMA1, LL_DMA_CHANNEL_3, LL_DMA_PRIORITY_LOW);

  LL_DMA_SetMode(DMA1, LL_DMA_CHANNEL_3, LL_DMA_MODE_NORMAL);

  LL_DMA_SetPeriphIncMode(DMA1, LL_DMA_CHANNEL_3, LL_DMA_PERIPH_NOINCREMENT);

  LL_DMA_SetMemoryIncMode(DMA1, LL_DMA_CHANNEL_3, LL_DMA_MEMORY_INCREMENT);

  LL_DMA_SetPeriphSize(DMA1, LL_DMA_CHANNEL_3, LL_DMA_PDATAALIGN_WORD);

  LL_DMA_SetMemorySize(DMA1, LL_DMA_CHANNEL_3, LL_DMA_MDATAALIGN_WORD);

  /* TIM5 interrupt Init */
  NVIC_SetPriority(TIM5_IRQn, NVIC_EncodePriority(NVIC_GetPriorityGrouping(),0, 0));
  NVIC_EnableIRQ(TIM5_IRQn);

  TIM_InitStruct.Prescaler = 0;
  TIM_InitStruct.CounterMode = LL_TIM_COUNTERMODE_UP;
  TIM_InitStruct.Autoreload = 532;
  TIM_InitStruct.ClockDivision = LL_TIM_CLOCKDIVISION_DIV1;
  LL_TIM_Init(TIM5, &TIM_InitStruct);
  LL_TIM_DisableARRPreload(TIM5);
  LL_TIM_OC_EnablePreload(TIM5, LL_TIM_CHANNEL_CH1);
  TIM_OC_InitStruct.OCMode = LL_TIM_OCMODE_PWM1;
  TIM_OC_InitStruct.OCState = LL_TIM_OCSTATE_DISABLE;
  TIM_OC_InitStruct.OCNState = LL_TIM_OCSTATE_DISABLE;
  TIM_OC_InitStruct.CompareValue = 0;
  TIM_OC_InitStruct.OCPolarity = LL_TIM_OCPOLARITY_HIGH;
  LL_TIM_OC_Init(TIM5, LL_TIM_CHANNEL_CH1, &TIM_OC_InitStruct);
  LL_TIM_OC_DisableFast(TIM5, LL_TIM_CHANNEL_CH1);
  LL_TIM_OC_EnablePreload(TIM5, LL_TIM_CHANNEL_CH2);
  LL_TIM_OC_Init(TIM5, LL_TIM_CHANNEL_CH2, &TIM_OC_InitStruct);
  LL_TIM_OC_DisableFast(TIM5, LL_TIM_CHANNEL_CH2);
  LL_TIM_SetTriggerOutput(TIM5, LL_TIM_TRGO_RESET);
  LL_TIM_DisableMasterSlaveMode(TIM5);
  LL_AHB2_GRP1_EnableClock(LL_AHB2_GRP1_PERIPH_GPIOA);
  LL_AHB2_GRP1_EnableClock(LL_AHB2_GRP1_PERIPH_GPIOB);
  /**TIM5 GPIO Configuration
  PA1   ------> TIM5_CH2
  PB2   ------> TIM5_CH1
  */
  GPIO_InitStruct.Pin = LL_GPIO_PIN_1;
  GPIO_InitStruct.Mode = LL_GPIO_MODE_ALTERNATE;
  GPIO_InitStruct.Speed = LL_GPIO_SPEED_FREQ_LOW;
  GPIO_InitStruct.OutputType = LL_GPIO_OUTPUT_PUSHPULL;
  GPIO_InitStruct.Pull = LL_GPIO_PULL_NO;
  GPIO_InitStruct.Alternate = LL_GPIO_AF_2;
  LL_GPIO_Init(GPIOA, &GPIO_InitStruct);

  GPIO_InitStruct.Pin = LL_GPIO_PIN_2;
  GPIO_InitStruct.Mode = LL_GPIO_MODE_ALTERNATE;
  GPIO_InitStruct.Speed = LL_GPIO_SPEED_FREQ_LOW;
  GPIO_InitStruct.OutputType = LL_GPIO_OUTPUT_PUSHPULL;
  GPIO_InitStruct.Pull = LL_GPIO_PULL_NO;
  GPIO_InitStruct.Alternate = LL_GPIO_AF_2;
  LL_GPIO_Init(GPIOB, &GPIO_InitStruct);

}

static void MX_TIM7_Init(void)
{

  LL_TIM_InitTypeDef TIM_InitStruct = {0};

  /* Peripheral clock enable */
  LL_APB1_GRP1_EnableClock(LL_APB1_GRP1_PERIPH_TIM7);

  TIM_InitStruct.Prescaler = 39;
  TIM_InitStruct.CounterMode = LL_TIM_COUNTERMODE_UP;
  TIM_InitStruct.Autoreload = 999;
  LL_TIM_Init(TIM7, &TIM_InitStruct);
  LL_TIM_DisableARRPreload(TIM7);
  LL_TIM_SetTriggerOutput(TIM7, LL_TIM_TRGO_RESET);
  LL_TIM_DisableMasterSlaveMode(TIM7);

}

static void MX_UART4_Init(void)
{

  LL_USART_InitTypeDef USART_InitStruct = {0};

  LL_GPIO_InitTypeDef GPIO_InitStruct = {0};
  RCC_PeriphCLKInitTypeDef PeriphClkInit = {0};

  /** Initializes the peripherals clocks
  */
  PeriphClkInit.PeriphClockSelection = RCC_PERIPHCLK_UART4;
  PeriphClkInit.Uart4ClockSelection = RCC_UART4CLKSOURCE_PCLK1;
  if (HAL_RCCEx_PeriphCLKConfig(&PeriphClkInit) != HAL_OK)
  {
    Error_Handler();
  }

  /* Peripheral clock enable */
  LL_APB1_GRP1_EnableClock(LL_APB1_GRP1_PERIPH_UART4);

  LL_AHB2_GRP1_EnableClock(LL_AHB2_GRP1_PERIPH_GPIOC);
  /**UART4 GPIO Configuration
  PC10   ------> UART4_TX
  PC11   ------> UART4_RX
  */
  GPIO_InitStruct.Pin = LL_GPIO_PIN_10;
  GPIO_InitStruct.Mode = LL_GPIO_MODE_ALTERNATE;
  GPIO_InitStruct.Speed = LL_GPIO_SPEED_FREQ_LOW;
  GPIO_InitStruct.OutputType = LL_GPIO_OUTPUT_PUSHPULL;
  GPIO_InitStruct.Pull = LL_GPIO_PULL_NO;
  GPIO_InitStruct.Alternate = LL_GPIO_AF_5;
  LL_GPIO_Init(GPIOC, &GPIO_InitStruct);

  GPIO_InitStruct.Pin = LL_GPIO_PIN_11;
  GPIO_InitStruct.Mode = LL_GPIO_MODE_ALTERNATE;
  GPIO_InitStruct.Speed = LL_GPIO_SPEED_FREQ_LOW;
  GPIO_InitStruct.OutputType = LL_GPIO_OUTPUT_PUSHPULL;
  GPIO_InitStruct.Pull = LL_GPIO_PULL_NO;
  GPIO_InitStruct.Alternate = LL_GPIO_AF_5;
  LL_GPIO_Init(GPIOC, &GPIO_InitStruct);

  /* UART4 interrupt Init */
  NVIC_SetPriority(UART4_IRQn, NVIC_EncodePriority(NVIC_GetPriorityGrouping(),0, 0));
  NVIC_EnableIRQ(UART4_IRQn);

  USART_InitStruct.PrescalerValue = LL_USART_PRESCALER_DIV1;
  USART_InitStruct.BaudRate = 115200;
  USART_InitStruct.DataWidth = LL_USART_DATAWIDTH_8B;
  USART_InitStruct.StopBits = LL_USART_STOPBITS_1;
  USART_InitStruct.Parity = LL_USART_PARITY_NONE;
  USART_InitStruct.TransferDirection = LL_USART_DIRECTION_TX_RX;
  USART_InitStruct.HardwareFlowControl = LL_USART_HWCONTROL_NONE;
  USART_InitStruct.OverSampling = LL_USART_OVERSAMPLING_16;
  LL_USART_Init(UART4, &USART_InitStruct);
  LL_USART_DisableFIFO(UART4);
  LL_USART_SetTXFIFOThreshold(UART4, LL_USART_FIFOTHRESHOLD_1_8);
  LL_USART_SetRXFIFOThreshold(UART4, LL_USART_FIFOTHRESHOLD_1_8);
  LL_USART_ConfigAsyncMode(UART4);

  LL_USART_Enable(UART4);

  /* Polling UART4 initialisation */
  while((!(LL_USART_IsActiveFlag_TEACK(UART4))) || (!(LL_USART_IsActiveFlag_REACK(UART4))))
  {
  }

}

static void MX_USART2_UART_Init(void)
{

  LL_USART_InitTypeDef USART_InitStruct = {0};

  LL_GPIO_InitTypeDef GPIO_InitStruct = {0};
  RCC_PeriphCLKInitTypeDef PeriphClkInit = {0};

  /** Initializes the peripherals clocks
  */
  PeriphClkInit.PeriphClockSelection = RCC_PERIPHCLK_USART2;
  PeriphClkInit.Usart2ClockSelection = RCC_USART2CLKSOURCE_PCLK1;
  if (HAL_RCCEx_PeriphCLKConfig(&PeriphClkInit) != HAL_OK)
  {
    Error_Handler();
  }

  /* Peripheral clock enable */
  LL_APB1_GRP1_EnableClock(LL_APB1_GRP1_PERIPH_USART2);

  LL_AHB2_GRP1_EnableClock(LL_AHB2_GRP1_PERIPH_GPIOA);
  /**USART2 GPIO Configuration
  PA2   ------> USART2_TX
  PA3   ------> USART2_RX
  */
  GPIO_InitStruct.Pin = LL_GPIO_PIN_2;
  GPIO_InitStruct.Mode = LL_GPIO_MODE_ALTERNATE;
  GPIO_InitStruct.Speed = LL_GPIO_SPEED_FREQ_LOW;
  GPIO_InitStruct.OutputType = LL_GPIO_OUTPUT_PUSHPULL;
  GPIO_InitStruct.Pull = LL_GPIO_PULL_NO;
  GPIO_InitStruct.Alternate = LL_GPIO_AF_7;
  LL_GPIO_Init(GPIOA, &GPIO_InitStruct);

  GPIO_InitStruct.Pin = LL_GPIO_PIN_3;
  GPIO_InitStruct.Mode = LL_GPIO_MODE_ALTERNATE;
  GPIO_InitStruct.Speed = LL_GPIO_SPEED_FREQ_LOW;
  GPIO_InitStruct.OutputType = LL_GPIO_OUTPUT_PUSHPULL;
  GPIO_InitStruct.Pull = LL_GPIO_PULL_NO;
  GPIO_InitStruct.Alternate = LL_GPIO_AF_7;
  LL_GPIO_Init(GPIOA, &GPIO_InitStruct);

  USART_InitStruct.PrescalerValue = LL_USART_PRESCALER_DIV1;
  USART_InitStruct.BaudRate = 2000000;
  USART_InitStruct.DataWidth = LL_USART_DATAWIDTH_8B;
  USART_InitStruct.StopBits = LL_USART_STOPBITS_1;
  USART_InitStruct.Parity = LL_USART_PARITY_NONE;
  USART_InitStruct.TransferDirection = LL_USART_DIRECTION_TX_RX;
  USART_InitStruct.HardwareFlowControl = LL_USART_HWCONTROL_NONE;
  USART_InitStruct.OverSampling = LL_USART_OVERSAMPLING_16;
  LL_USART_Init(USART2, &USART_InitStruct);
  LL_USART_SetTXFIFOThreshold(USART2, LL_USART_FIFOTHRESHOLD_1_8);
  LL_USART_SetRXFIFOThreshold(USART2, LL_USART_FIFOTHRESHOLD_1_8);
  LL_USART_DisableFIFO(USART2);
  LL_USART_ConfigAsyncMode(USART2);

  LL_USART_Enable(USART2);

  /* Polling USART2 initialisation */
  while((!(LL_USART_IsActiveFlag_TEACK(USART2))) || (!(LL_USART_IsActiveFlag_REACK(USART2))))
  {
  }

}

static void MX_USART3_UART_Init(void)
{

  LL_USART_InitTypeDef USART_InitStruct = {0};

  LL_GPIO_InitTypeDef GPIO_InitStruct = {0};
  RCC_PeriphCLKInitTypeDef PeriphClkInit = {0};

  /** Initializes the peripherals clocks
  */
  PeriphClkInit.PeriphClockSelection = RCC_PERIPHCLK_USART3;
  PeriphClkInit.Usart3ClockSelection = RCC_USART3CLKSOURCE_PCLK1;
  if (HAL_RCCEx_PeriphCLKConfig(&PeriphClkInit) != HAL_OK)
  {
    Error_Handler();
  }

  /* Peripheral clock enable */
  LL_APB1_GRP1_EnableClock(LL_APB1_GRP1_PERIPH_USART3);

  LL_AHB2_GRP1_EnableClock(LL_AHB2_GRP1_PERIPH_GPIOB);
  /**USART3 GPIO Configuration
  PB10   ------> USART3_TX
  PB11   ------> USART3_RX
  */
  GPIO_InitStruct.Pin = LL_GPIO_PIN_10;
  GPIO_InitStruct.Mode = LL_GPIO_MODE_ALTERNATE;
  GPIO_InitStruct.Speed = LL_GPIO_SPEED_FREQ_LOW;
  GPIO_InitStruct.OutputType = LL_GPIO_OUTPUT_PUSHPULL;
  GPIO_InitStruct.Pull = LL_GPIO_PULL_NO;
  GPIO_InitStruct.Alternate = LL_GPIO_AF_7;
  LL_GPIO_Init(GPIOB, &GPIO_InitStruct);

  GPIO_InitStruct.Pin = LL_GPIO_PIN_11;
  GPIO_InitStruct.Mode = LL_GPIO_MODE_ALTERNATE;
  GPIO_InitStruct.Speed = LL_GPIO_SPEED_FREQ_LOW;
  GPIO_InitStruct.OutputType = LL_GPIO_OUTPUT_PUSHPULL;
  GPIO_InitStruct.Pull = LL_GPIO_PULL_NO;
  GPIO_InitStruct.Alternate = LL_GPIO_AF_7;
  LL_GPIO_Init(GPIOB, &GPIO_InitStruct);

  /* USART3 DMA Init */

  /* USART3_RX Init */
  LL_DMA_SetPeriphRequest(DMA1, LL_DMA_CHANNEL_1, LL_DMAMUX_REQ_USART3_RX);

  LL_DMA_SetDataTransferDirection(DMA1, LL_DMA_CHANNEL_1, LL_DMA_DIRECTION_PERIPH_TO_MEMORY);

  LL_DMA_SetChannelPriorityLevel(DMA1, LL_DMA_CHANNEL_1, LL_DMA_PRIORITY_LOW);

  LL_DMA_SetMode(DMA1, LL_DMA_CHANNEL_1, LL_DMA_MODE_NORMAL);

  LL_DMA_SetPeriphIncMode(DMA1, LL_DMA_CHANNEL_1, LL_DMA_PERIPH_NOINCREMENT);

  LL_DMA_SetMemoryIncMode(DMA1, LL_DMA_CHANNEL_1, LL_DMA_MEMORY_INCREMENT);

  LL_DMA_SetPeriphSize(DMA1, LL_DMA_CHANNEL_1, LL_DMA_PDATAALIGN_BYTE);

  LL_DMA_SetMemorySize(DMA1, LL_DMA_CHANNEL_1, LL_DMA_MDATAALIGN_BYTE);

  /* USART3 interrupt Init */
  NVIC_SetPriority(USART3_IRQn, NVIC_EncodePriority(NVIC_GetPriorityGrouping(),0, 0));
  NVIC_EnableIRQ(USART3_IRQn);

  USART_InitStruct.PrescalerValue = LL_USART_PRESCALER_DIV1;
  USART_InitStruct.BaudRate = 9600;
  USART_InitStruct.DataWidth = LL_USART_DATAWIDTH_8B;
  USART_InitStruct.StopBits = LL_USART_STOPBITS_1;
  USART_InitStruct.Parity = LL_USART_PARITY_NONE;
  USART_InitStruct.TransferDirection = LL_USART_DIRECTION_TX_RX;
  USART_InitStruct.HardwareFlowControl = LL_USART_HWCONTROL_NONE;
  USART_InitStruct.OverSampling = LL_USART_OVERSAMPLING_16;
  LL_USART_Init(USART3, &USART_InitStruct);
  LL_USART_SetTXFIFOThreshold(USART3, LL_USART_FIFOTHRESHOLD_1_8);
  LL_USART_SetRXFIFOThreshold(USART3, LL_USART_FIFOTHRESHOLD_1_8);
  LL_USART_DisableFIFO(USART3);
  LL_USART_SetTXRXSwap(USART3, LL_USART_TXRX_SWAPPED);
  LL_USART_ConfigAsyncMode(USART3);

  LL_USART_Enable(USART3);

  /* Polling USART3 initialisation */
  while((!(LL_USART_IsActiveFlag_TEACK(USART3))) || (!(LL_USART_IsActiveFlag_REACK(USART3))))
  {
  }

}

static void MX_DMA_Init(void)
{

  /* DMA controller clock enable */
  __HAL_RCC_DMAMUX1_CLK_ENABLE();
  __HAL_RCC_DMA1_CLK_ENABLE();

  /* DMA interrupt init */
  /* DMA1_Channel1_IRQn interrupt configuration */
  NVIC_SetPriority(DMA1_Channel1_IRQn, NVIC_EncodePriority(NVIC_GetPriorityGrouping(),0, 0));
  NVIC_EnableIRQ(DMA1_Channel1_IRQn);
  /* DMA1_Channel2_IRQn interrupt configuration */
  NVIC_SetPriority(DMA1_Channel2_IRQn, NVIC_EncodePriority(NVIC_GetPriorityGrouping(),0, 0));
  NVIC_EnableIRQ(DMA1_Channel2_IRQn);
  /* DMA1_Channel3_IRQn interrupt configuration */
  NVIC_SetPriority(DMA1_Channel3_IRQn, NVIC_EncodePriority(NVIC_GetPriorityGrouping(),0, 0));
  NVIC_EnableIRQ(DMA1_Channel3_IRQn);
  /* DMA1_Channel4_IRQn interrupt configuration */
  NVIC_SetPriority(DMA1_Channel4_IRQn, NVIC_EncodePriority(NVIC_GetPriorityGrouping(),0, 0));
  NVIC_EnableIRQ(DMA1_Channel4_IRQn);
  /* DMA1_Channel5_IRQn interrupt configuration */
  NVIC_SetPriority(DMA1_Channel5_IRQn, NVIC_EncodePriority(NVIC_GetPriorityGrouping(),0, 0));
  NVIC_EnableIRQ(DMA1_Channel5_IRQn);

}

static void MX_GPIO_Init(void)
{
  LL_GPIO_InitTypeDef GPIO_InitStruct = {0};

  /* GPIO Ports Clock Enable */
  LL_AHB2_GRP1_EnableClock(LL_AHB2_GRP1_PERIPH_GPIOF);
  LL_AHB2_GRP1_EnableClock(LL_AHB2_GRP1_PERIPH_GPIOA);
  LL_AHB2_GRP1_EnableClock(LL_AHB2_GRP1_PERIPH_GPIOB);
  LL_AHB2_GRP1_EnableClock(LL_AHB2_GRP1_PERIPH_GPIOC);

  /**/
  LL_GPIO_ResetOutputPin(SPI1_CS_GPIO_Port, SPI1_CS_Pin);

  /**/
  LL_GPIO_ResetOutputPin(SPI2_CS_GPIO_Port, SPI2_CS_Pin);

  /**/
  LL_GPIO_ResetOutputPin(LED_Green_GPIO_Port, LED_Green_Pin);

  /**/
  LL_GPIO_ResetOutputPin(LED_Red_GPIO_Port, LED_Red_Pin);

  /**/
  LL_GPIO_SetOutputPin(HC12_SET_GPIO_Port, HC12_SET_Pin);

  /**/
  GPIO_InitStruct.Pin = SPI1_CS_Pin;
  GPIO_InitStruct.Mode = LL_GPIO_MODE_OUTPUT;
  GPIO_InitStruct.Speed = LL_GPIO_SPEED_FREQ_LOW;
  GPIO_InitStruct.OutputType = LL_GPIO_OUTPUT_PUSHPULL;
  GPIO_InitStruct.Pull = LL_GPIO_PULL_NO;
  LL_GPIO_Init(SPI1_CS_GPIO_Port, &GPIO_InitStruct);

  /**/
  GPIO_InitStruct.Pin = HC12_SET_Pin;
  GPIO_InitStruct.Mode = LL_GPIO_MODE_OUTPUT;
  GPIO_InitStruct.Speed = LL_GPIO_SPEED_FREQ_LOW;
  GPIO_InitStruct.OutputType = LL_GPIO_OUTPUT_PUSHPULL;
  GPIO_InitStruct.Pull = LL_GPIO_PULL_NO;
  LL_GPIO_Init(HC12_SET_GPIO_Port, &GPIO_InitStruct);

  /**/
  GPIO_InitStruct.Pin = SPI2_CS_Pin;
  GPIO_InitStruct.Mode = LL_GPIO_MODE_OUTPUT;
  GPIO_InitStruct.Speed = LL_GPIO_SPEED_FREQ_LOW;
  GPIO_InitStruct.OutputType = LL_GPIO_OUTPUT_PUSHPULL;
  GPIO_InitStruct.Pull = LL_GPIO_PULL_NO;
  LL_GPIO_Init(SPI2_CS_GPIO_Port, &GPIO_InitStruct);

  /**/
  GPIO_InitStruct.Pin = LED_Green_Pin;
  GPIO_InitStruct.Mode = LL_GPIO_MODE_OUTPUT;
  GPIO_InitStruct.Speed = LL_GPIO_SPEED_FREQ_LOW;
  GPIO_InitStruct.OutputType = LL_GPIO_OUTPUT_PUSHPULL;
  GPIO_InitStruct.Pull = LL_GPIO_PULL_NO;
  LL_GPIO_Init(LED_Green_GPIO_Port, &GPIO_InitStruct);

  /**/
  GPIO_InitStruct.Pin = LED_Red_Pin;
  GPIO_InitStruct.Mode = LL_GPIO_MODE_OUTPUT;
  GPIO_InitStruct.Speed = LL_GPIO_SPEED_FREQ_LOW;
  GPIO_InitStruct.OutputType = LL_GPIO_OUTPUT_PUSHPULL;
  GPIO_InitStruct.Pull = LL_GPIO_PULL_NO;
  LL_GPIO_Init(LED_Red_GPIO_Port, &GPIO_InitStruct);

  /* USER CODE BEGIN MX_GPIO_Init_2 */
	// SPI CS 는 비선택(HIGH)이 기본. 생성 코드는 LOW 로 시작해 IMU/BARO 가 동시에 선택돼 있었음.
	LL_GPIO_SetOutputPin(SPI1_CS_GPIO_Port, SPI1_CS_Pin);
	LL_GPIO_SetOutputPin(SPI2_CS_GPIO_Port, SPI2_CS_Pin);
  /* USER CODE END MX_GPIO_Init_2 */
}

void Error_Handler(void)
{
	__disable_irq();
	while (1) {
	}
}
